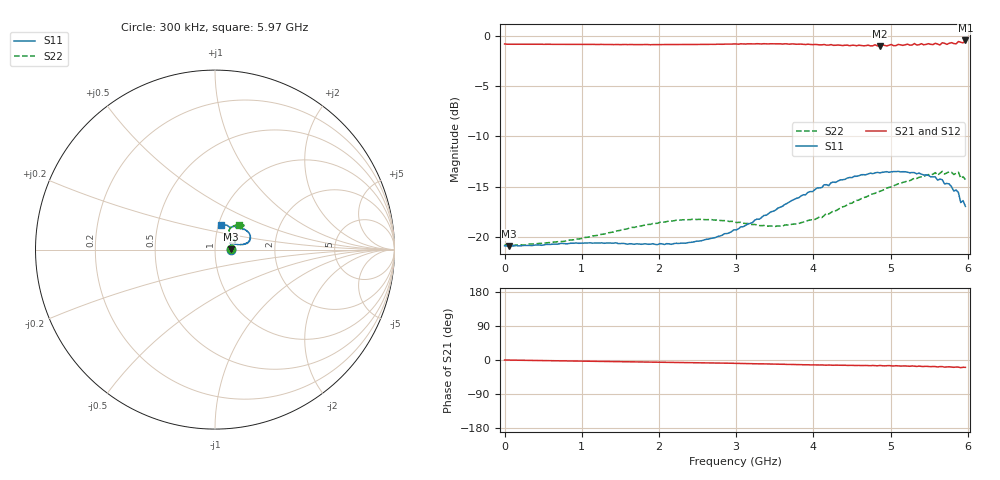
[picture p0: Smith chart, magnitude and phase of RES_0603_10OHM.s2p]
# Hz S RI R 50
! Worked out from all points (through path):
!   200 points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, 300 kHz to 5.97 GHz, reference 50 ohm
!   highest |S21| = -0.44 dB at 5.97 GHz (marker M1); lowest = -1.0 dB at 4.86 GHz (marker M2)
!   group delay of S21, straight-line fit = 8.82 ps
!   lowest |S11| = -20.9 dB at 60.3 MHz (marker M3), VSWR 1.20, Z = 59.9 + j0.13 ohm
!   |S11| at or under -10 dB: start of sweep to end of sweep
!   |S22| runs from -20.9 to -13.5 dB; largest |S21 - S12| = 0.027
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300000  0.0903 -0.00209  0.9127 -0.000471  0.9085 -7.78e-05  0.0918 0.00146
6.0297e7  0.09 0.00107  0.9096 -0.00332  0.9096 -0.00318  0.0909 0.00134
1.020249e9  0.0907 0.021  0.9068 -0.0493  0.9061 -0.0495  0.096 0.0248
2.0102e9  0.085 0.0366  0.9009 -0.0932  0.8995 -0.0929  0.1113 0.0397
2.550172e9  0.0884 0.0367  0.8998 -0.1172  0.8976 -0.1185  0.1137 0.045
3.00015e9  0.1032 0.0328  0.901 -0.1422  0.8938 -0.1391  0.1059 0.0518
3.60012e9  0.1393 0.0278  0.894 -0.1783  0.8864 -0.1694  0.0866 0.0728
3.9901e9  0.1653 0.0307  0.883 -0.201  0.8788 -0.1842  0.0797 0.0921
4.350082e9  0.1877 0.0416  0.8722 -0.2177  0.8752 -0.2069  0.0815 0.1133
4.860057e9  0.1967 0.0689  0.8638 -0.2236  0.8652 -0.2276  0.1054 0.1314
4.980051e9  0.1946 0.078  0.8705 -0.2295  0.8647 -0.2346  0.1133 0.1353
5.310034e9  0.1839 0.099  0.8799 -0.2584  0.8617 -0.2544  0.1387 0.1386
5.340033e9  0.1792 0.102  0.8622 -0.2633  0.8577 -0.2577  0.1383 0.1382
5.370032e9  0.1797 0.1042  0.8695 -0.2502  0.8597 -0.2566  0.1409 0.139
5.61002e9  0.1556 0.1121  0.8657 -0.2875  0.8603 -0.2775  0.1547 0.1319
5.640018e9  0.1523 0.1201  0.8607 -0.2702  0.8494 -0.2733  0.1543 0.1383
5.670016e9  0.1508 0.1198  0.8826 -0.2773  0.8571 -0.2695  0.16 0.1391
5.820009e9  0.1166 0.1227  0.8654 -0.3036  0.8581 -0.2866  0.1562 0.132
5.880006e9  0.1047 0.129  0.8892 -0.3004  0.8672 -0.2876  0.1586 0.1377
5.910004e9  0.083 0.1228  0.8724 -0.3227  0.8644 -0.2973  0.148 0.1287
5.940003e9  0.0662 0.1364  0.873 -0.304  0.8696 -0.2942  0.1428 0.1393
5.970002e9  0.0361 0.1372  0.8965 -0.3146  0.8769 -0.3039  0.1329 0.1398
